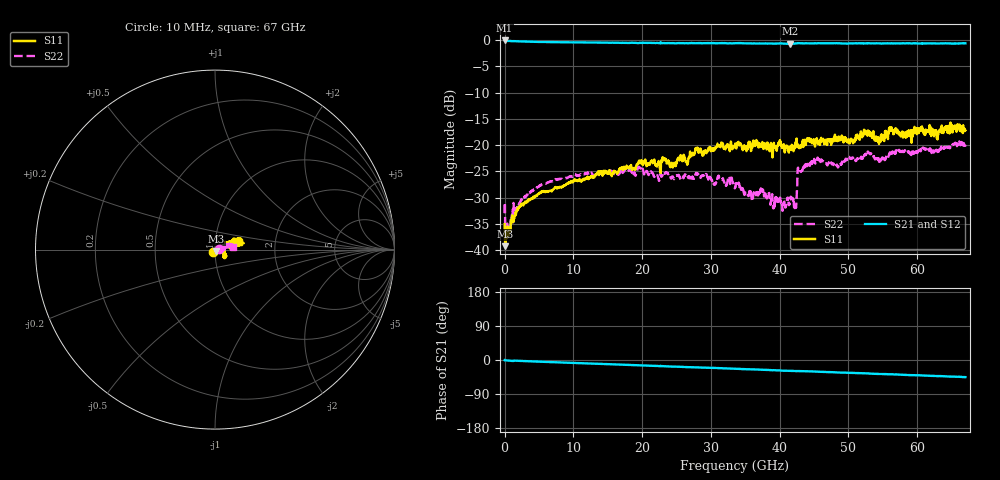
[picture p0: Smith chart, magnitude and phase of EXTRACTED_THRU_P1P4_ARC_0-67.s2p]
! Generated by Phase I extraction
# Hz S RI R 50
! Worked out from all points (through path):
!   1601 points, 10 MHz to 67 GHz, reference 50 ohm
!   highest |S21| = -0.10 dB at 10 MHz (marker M1); lowest = -0.7 dB at 41.46 GHz (marker M2)
!   group delay of S21, straight-line fit = 1.82 ps
!   lowest |S11| = -39.2 dB at 93.74 MHz (marker M3), VSWR 1.02, Z = 50.7 - j0.86 ohm
!   |S11| at or under -10 dB: start of sweep to end of sweep
!   |S22| runs from -36.4 to -19.3 dB; largest |S21 - S12| = 0.023
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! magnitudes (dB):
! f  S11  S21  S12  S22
! 10 MHz  -35.0  -0.1  -0.1  -32.9
! 93.74 MHz  -39.2  -0.2  -0.2  -35.7
! 554.3 MHz  -37.3  -0.2  -0.2  -35.8
! 2.69 GHz  -31.2  -0.3  -0.3  -30.1
! 5.537 GHz  -28.8  -0.4  -0.4  -27.3
! 11.19 GHz  -26.8  -0.5  -0.5  -25.6
! 18.85 GHz  -24.4  -0.6  -0.6  -25.1
! 19.73 GHz  -23.4  -0.6  -0.6  -24.4
! 22.37 GHz  -23.5  -0.6  -0.6  -26.4
! 29.11 GHz  -21.4  -0.6  -0.6  -25.5
! 33.51 GHz  -20.0  -0.6  -0.6  -28.2
! 37.52 GHz  -20.3  -0.7  -0.7  -28.5
! 40.58 GHz  -19.8  -0.7  -0.7  -31.0
! 41.46 GHz  -20.7  -0.7  -0.7  -30.4
! 42.21 GHz  -19.9  -0.7  -0.7  -32.0
! 42.93 GHz  -20.1  -0.6  -0.6  -24.8
! 44.68 GHz  -19.6  -0.6  -0.7  -23.6
! 48.62 GHz  -18.6  -0.6  -0.6  -23.9
! 52.6 GHz  -18.0  -0.7  -0.7  -21.6
! 54.15 GHz  -19.2  -0.6  -0.6  -22.8
! 55.86 GHz  -17.4  -0.6  -0.6  -22.0
! 67 GHz  -17.2  -0.6  -0.6  -19.9
